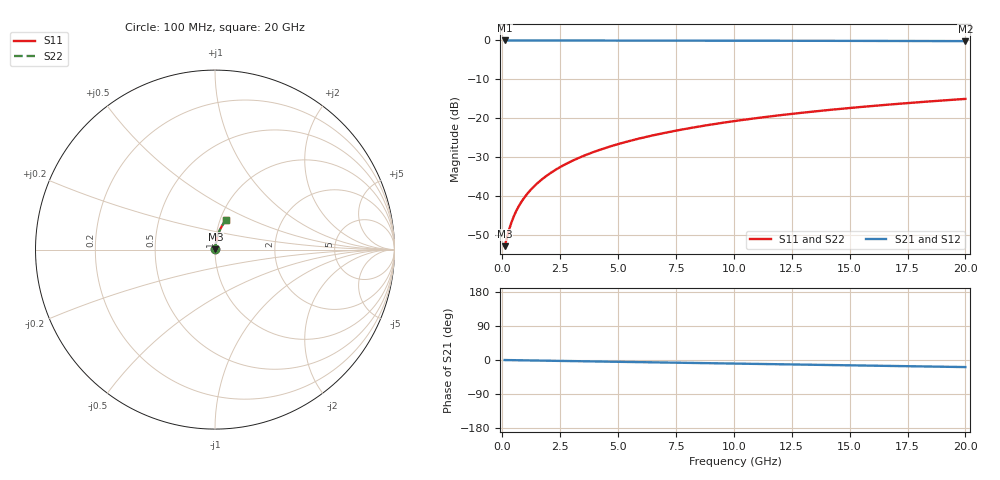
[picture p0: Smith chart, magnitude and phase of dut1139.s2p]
! Touchstone file exported from HFSS 2026.1.0
!  File:  C:/ffzhzh/LocalFiles/Ansys_Project_Files/temp_train_TMRDL_1139_1783161931_22436.aedt
!  Generated:  06:46:50 PM Jul  4, 2026
!  Design:  TMRDL
!  Project:  temp_train_TMRDL_1139_1783161931_22436
! Variables:
!  h_bsmrdl = 2um
!  h_ox = 20um
!  h_rdl = 5um
!  h_sub = 80um
!  h_tmrdl = 2.22um
!  h_tsv = 80um
!  h_via = 3um
!  l_bsmrdl = 300um
!  l_sub = 642.03um
!  l_tmrdl = 242.03um
!  m_sub = 200um
!  pitch = 44.56um
!  r_tsv = 6um
!  s_tmrdl = 10um
!  w_bsmrdl = 18um
!  w_sub = 500um
!  w_tmrdl = 23.83um
!  x_tsv_center1 = 253.945um
!  x_tsv_center2 = 571.945um
!  x_tsv_center3 = 837.805um
!  x_tsv_center4 = 1155.805um
!  x_tsv_center5 = 1421.665um
!  x_tsv_center6 = 1739.665um
# GHz S MA R 50.000000
! Terminal data exported
! Port[1] = TM_RDL1_1_T1
! Port[2] = TM_RDL1_1_T2
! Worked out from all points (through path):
!   200 points, 100 MHz to 20 GHz, reference 50 ohm
!   highest |S21| = -0.02 dB at 100 MHz (marker M1); lowest = -0.2 dB at 20 GHz (marker M2)
!   group delay of S21, straight-line fit = 2.59 ps
!   lowest |S11| = -52.9 dB at 100 MHz (marker M3), VSWR 1.00, Z = 50.2 + j0.105 ohm
!   |S11| at or under -10 dB: start of sweep to end of sweep
!   |S22| runs from -52.9 to -15.0 dB; largest |S21 - S12| = 5e-15
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0.1  0.002265 27.4  0.998 -0.1  0.998 -0.1  0.002265 27.4
! Gamma 0 0 0 0
! Port Impedance 50 0 50 0
0.3  0.003745 55.0  0.9979 -0.3  0.9979 -0.3  0.003745 55.0
0.4  0.00462 61.1  0.9978 -0.4  0.9978 -0.4  0.00462 61.1
0.5  0.00551 65.0  0.9977 -0.5  0.9977 -0.5  0.00551 65.0
0.6  0.006402 67.9  0.9976 -0.6  0.9976 -0.6  0.006402 67.8
0.7  0.007292 70.0  0.9976 -0.7  0.9976 -0.7  0.007293 70.0
0.9  0.009072 73.1  0.9975 -0.9  0.9975 -0.9  0.009073 73.1
1.2  0.01175 76.0  0.9973 -1.2  0.9973 -1.2  0.01175 76.0
1.4  0.01355 77.4  0.9973 -1.4  0.9973 -1.4  0.01355 77.4
1.7  0.01626 78.8  0.9972 -1.6  0.9972 -1.6  0.01626 78.8
2.2  0.0208 80.3  0.997 -2.1  0.997 -2.1  0.0208 80.2
2.8  0.02628 81.2  0.9968 -2.7  0.9968 -2.7  0.02629 81.1
3.5  0.0327 81.6  0.9966 -3.3  0.9966 -3.3  0.0327 81.5
4.2  0.03911 81.6  0.9962 -4.0  0.9962 -4.0  0.03911 81.6
5  0.04643 81.4  0.9958 -4.8  0.9958 -4.8  0.04643 81.4
5.9  0.05464 81.0  0.9953 -5.6  0.9953 -5.6  0.05464 81.0
6.8  0.06282 80.5  0.9947 -6.5  0.9947 -6.5  0.06282 80.4
8.3  0.07637 79.4  0.9935 -7.9  0.9935 -7.9  0.07637 79.4
10.1  0.09246 78.0  0.9918 -9.6  0.9918 -9.6  0.09246 78.0
13.4  0.1214 75.3  0.988 -12.6  0.988 -12.6  0.1214 75.2
16.7  0.1496 72.4  0.9836 -15.7  0.9836 -15.7  0.1496 72.3
20  0.177 69.5  0.9784 -18.7  0.9784 -18.7  0.177 69.4
